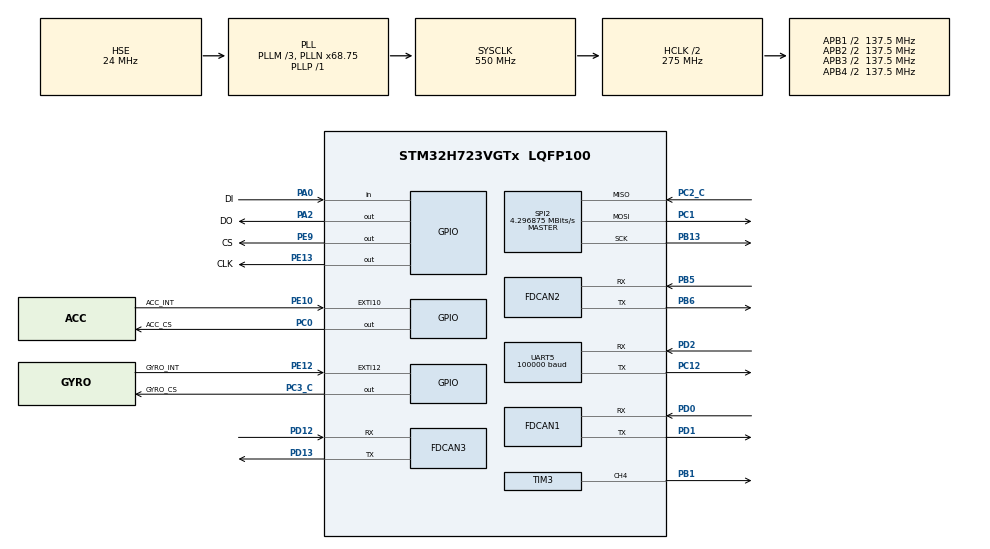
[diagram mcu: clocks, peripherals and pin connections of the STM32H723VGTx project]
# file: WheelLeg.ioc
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CORTEX_M7.default_mode_Activation=1
Dma.Request0=UART5_RX
Dma.UART5_RX.0.Direction=DMA_PERIPH_TO_MEMORY
Dma.UART5_RX.0.EventEnable=DISABLE
Dma.UART5_RX.0.FIFOMode=DMA_FIFOMODE_DISABLE
Dma.UART5_RX.0.Instance=DMA1_Stream1
Dma.UART5_RX.0.MemDataAlignment=DMA_MDATAALIGN_BYTE
Dma.UART5_RX.0.MemInc=DMA_MINC_ENABLE
Dma.UART5_RX.0.Mode=DMA_CIRCULAR
Dma.UART5_RX.0.PeriphDataAlignment=DMA_PDATAALIGN_BYTE
Dma.UART5_RX.0.PeriphInc=DMA_PINC_DISABLE
Dma.UART5_RX.0.Polarity=HAL_DMAMUX_REQ_GEN_RISING
Dma.UART5_RX.0.Priority=DMA_PRIORITY_VERY_HIGH
Dma.UART5_RX.0.RequestNumber=1
Dma.UART5_RX.0.SignalID=NONE
Dma.UART5_RX.0.SyncEnable=DISABLE
Dma.UART5_RX.0.SyncPolarity=HAL_DMAMUX_SYNC_NO_EVENT
Dma.UART5_RX.0.SyncRequestNumber=1
Dma.UART5_RX.0.SyncSignalID=NONE
FDCAN1.CalculateBaudRateNominal=1000000
FDCAN1.CalculateTimeBitNominal=1000
FDCAN1.CalculateTimeQuantumNominal=83.33333333333333
FDCAN1.NominalPrescaler=2
FDCAN1.NominalTimeSeg1=9
FDCAN1.NominalTimeSeg2=2
FDCAN1.RxFifo0ElmtsNbr=8
FDCAN1.StdFiltersNbr=1
FDCAN1.TxFifoQueueElmtsNbr=4
FDCAN2.CalculateBaudRateNominal=1000000
FDCAN2.CalculateTimeBitNominal=1000
FDCAN2.CalculateTimeQuantumNominal=83.33333333333333
FDCAN2.MessageRAMOffset=320
FDCAN2.NominalPrescaler=2
FDCAN2.NominalTimeSeg1=9
FDCAN2.NominalTimeSeg2=2
FDCAN2.RxFifo0ElmtsNbr=8
FDCAN2.StdFiltersNbr=1
FDCAN2.TxFifoQueueElmtsNbr=4
FDCAN3.CalculateBaudRateNominal=1000000
FDCAN3.CalculateTimeBitNominal=1000
FDCAN3.CalculateTimeQuantumNominal=83.33333333333333
FDCAN3.MessageRAMOffset=640
FDCAN3.NominalPrescaler=2
FDCAN3.NominalTimeSeg1=9
FDCAN3.NominalTimeSeg2=2
FDCAN3.RxFifo0ElmtsNbr=8
FDCAN3.StdFiltersNbr=1
FDCAN3.TxFifoQueueElmtsNbr=4
FREERTOS.Tasks01=defaultTask,24,128,StartDefaultTask,Default,NULL,Dynamic,NULL,NULL
Mcu.Family=STM32H7
Mcu.Name=STM32H723VGTx
Mcu.Package=LQFP100
NVIC.FDCAN1_IT0_IRQn=true\:5\:0\:false\:false\:true\:true\:true\:true\:true
NVIC.FDCAN2_IT0_IRQn=true\:5\:0\:false\:false\:true\:true\:true\:true\:true
NVIC.FDCAN3_IT0_IRQn=true\:5\:0\:false\:false\:true\:true\:true\:true\:true
NVIC.PriorityGroup=NVIC_PRIORITYGROUP_4
NVIC.TIM1_UP_IRQn=true\:15\:0\:false\:false\:true\:false\:false\:true\:true
NVIC.TimeBase=TIM1_UP_IRQn
NVIC.TimeBaseIP=TIM1
NVIC.UART5_IRQn=true\:5\:0\:false\:false\:true\:true\:true\:true\:true
PA0.GPIO_Label=DI
PA0.GPIO_PuPd=GPIO_PULLUP
PA0.Signal=GPIO_Input
PA13(JTMS/SWDIO).Mode=Serial_Wire
PA13(JTMS/SWDIO).Signal=DEBUG_JTMS-SWDIO
PA14(JTCK/SWCLK).Mode=Serial_Wire
PA14(JTCK/SWCLK).Signal=DEBUG_JTCK-SWCLK
PA2.GPIO_Label=DO
PA2.GPIO_PuPd=GPIO_PULLUP
PA2.GPIO_Speed=GPIO_SPEED_FREQ_VERY_HIGH
PA2.PinState=GPIO_PIN_SET
PA2.Signal=GPIO_Output
PB1.Signal=S_TIM3_CH4
PB13.GPIO_Speed=GPIO_SPEED_FREQ_VERY_HIGH
PB13.Mode=Full_Duplex_Master
PB13.Signal=SPI2_SCK
PB5.GPIO_Speed=GPIO_SPEED_FREQ_VERY_HIGH
PB5.Mode=FDCAN_Activate
PB5.Signal=FDCAN2_RX
PB6.GPIO_Speed=GPIO_SPEED_FREQ_VERY_HIGH
PB6.Mode=FDCAN_Activate
PB6.Signal=FDCAN2_TX
PC0.GPIO_Label=ACC_CS
PC0.GPIO_Speed=GPIO_SPEED_FREQ_VERY_HIGH
PC0.PinState=GPIO_PIN_SET
PC0.Signal=GPIO_Output
PC1.GPIO_Speed=GPIO_SPEED_FREQ_HIGH
PC1.Mode=Full_Duplex_Master
PC1.Signal=SPI2_MOSI
PC12.Mode=Asynchronous
PC12.Signal=UART5_TX
PC2_C.GPIO_Speed=GPIO_SPEED_FREQ_HIGH
PC2_C.Mode=Full_Duplex_Master
PC2_C.Signal=SPI2_MISO
PC3_C.GPIO_Label=GYRO_CS
PC3_C.GPIO_Speed=GPIO_SPEED_FREQ_VERY_HIGH
PC3_C.PinState=GPIO_PIN_SET
PC3_C.Signal=GPIO_Output
PD0.GPIO_Speed=GPIO_SPEED_FREQ_VERY_HIGH
PD0.Mode=FDCAN_Activate
PD0.Signal=FDCAN1_RX
PD1.GPIO_Speed=GPIO_SPEED_FREQ_VERY_HIGH
PD1.Mode=FDCAN_Activate
PD1.Signal=FDCAN1_TX
PD12.GPIO_Speed=GPIO_SPEED_FREQ_VERY_HIGH
PD12.Mode=FDCAN_Activate
PD12.Signal=FDCAN3_RX
PD13.GPIO_Speed=GPIO_SPEED_FREQ_VERY_HIGH
PD13.Mode=FDCAN_Activate
PD13.Signal=FDCAN3_TX
PD2.Mode=Asynchronous
PD2.Signal=UART5_RX
PE10.GPIO_Label=ACC_INT
PE10.Signal=GPXTI10
PE12.GPIO_Label=GYRO_INT
PE12.Signal=GPXTI12
PE13.GPIO_Label=CLK
PE13.GPIO_PuPd=GPIO_PULLUP
PE13.GPIO_Speed=GPIO_SPEED_FREQ_VERY_HIGH
PE13.PinState=GPIO_PIN_SET
PE13.Signal=GPIO_Output
PE9.GPIO_Label=CS
PE9.GPIO_PuPd=GPIO_PULLUP
PE9.GPIO_Speed=GPIO_SPEED_FREQ_VERY_HIGH
PE9.PinState=GPIO_PIN_SET
PE9.Signal=GPIO_Output
PH0-OSC_IN.Mode=HSE-External-Oscillator
PH0-OSC_IN.Signal=RCC_OSC_IN
PH1-OSC_OUT.Mode=HSE-External-Oscillator
PH1-OSC_OUT.Signal=RCC_OSC_OUT
ProjectManager.HeapSize=0x2000
ProjectManager.StackSize=0x4000
ProjectManager.TargetToolchain=MDK-ARM V5.32
RCC.ADCFreq_Value=48375000
RCC.APB1Freq_Value=137500000
RCC.APB2Freq_Value=137500000
RCC.APB3Freq_Value=137500000
RCC.APB4Freq_Value=137500000
RCC.CortexFreq_Value=550000000
RCC.D1PPRE=RCC_APB3_DIV2
RCC.D2PPRE1=RCC_APB1_DIV2
RCC.D2PPRE2=RCC_APB2_DIV2
RCC.D3PPRE=RCC_APB4_DIV2
RCC.DIVM1=3
RCC.DIVN1=68
RCC.DIVP1=1
RCC.DIVQ1=4
RCC.FDCANCLockSelection=RCC_FDCANCLKSOURCE_HSE
RCC.HCLKFreq_Value=275000000
RCC.HPRE=RCC_HCLK_DIV2
RCC.HSE_VALUE=24000000
RCC.PLL2FRACN=0
RCC.PLL3FRACN=0
RCC.PLLFRACN=6144
RCC.PLLSourceVirtual=RCC_PLLSOURCE_HSE
RCC.SYSCLKFreq_VALUE=550000000
RCC.SYSCLKSource=RCC_SYSCLKSOURCE_PLLCLK
RCC.USBFreq_Value=137500000
SH.S_TIM3_CH4.0=TIM3_CH4,PWM Generation4 CH4
SPI2.BaudRatePrescaler=SPI_BAUDRATEPRESCALER_32
SPI2.CLKPhase=SPI_PHASE_2EDGE
SPI2.CLKPolarity=SPI_POLARITY_HIGH
SPI2.CalculateBaudRate=4.296875 MBits/s
SPI2.DataSize=SPI_DATASIZE_8BIT
SPI2.Direction=SPI_DIRECTION_2LINES
SPI2.Mode=SPI_MODE_MASTER
SPI2.VirtualType=VM_MASTER
TIM3.AutoReloadPreload=TIM_AUTORELOAD_PRELOAD_ENABLE
TIM3.Channel-PWM\ Generation4\ CH4=TIM_CHANNEL_4
TIM3.Period=1000-1
TIM3.Prescaler=24-1
UART5.BaudRate=100000
UART5.Mode=MODE_TX_RX
UART5.OneBitSampling=UART_ONE_BIT_SAMPLE_DISABLE
UART5.Parity=PARITY_EVEN
UART5.StopBits=UART_STOPBITS_2
UART5.WordLength=WORDLENGTH_9B
VP_FREERTOS_VS_CMSIS_V2.Mode=CMSIS_V2
VP_MEMORYMAP_VS_MEMORYMAP.Mode=CurAppReg
VP_SYS_VS_tim1.Mode=TIM1
board=custom

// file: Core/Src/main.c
/* USER CODE BEGIN Header */
/**
  ******************************************************************************
  * @file           : main.c
  * @brief          : Main program body
  ******************************************************************************
  * @attention
  *
  * Copyright (c) 2026 STMicroelectronics.
  * All rights reserved.
  *
  * This software is licensed under terms that can be found in the LICENSE file
  * in the root directory of this software component.
  * If no LICENSE file comes with this software, it is provided AS-IS.
  *
  ******************************************************************************
  */
/* USER CODE END Header */
#include "main.h"
#include "FreeRTOS.h"
#include "cmsis_os2.h"
#include "dma.h"
#include "fdcan.h"
#include "spi.h"
#include "tim.h"
#include "usart.h"
#include "gpio.h"

/* USER CODE BEGIN Includes */
#include "arm_math.h"
#include "dwt.h"
#include "Remote_Control.h"
#include "INS_task.h"
#include "DM_motor.h"
#include "8009_CtrlApplications.h"
#include "BMI088Middleware.h"
#include "BMI088driver.h"
#include <stdio.h>
/* USER CODE END Includes */

void SystemClock_Config(void);
static void MPU_Config(void);
void MX_FREERTOS_Init(void);
/* USER CODE BEGIN PFP */
void SystemClock_Config(void);
static void MPU_Config(void);
/* USER CODE END PFP */

/* USER CODE BEGIN 0 */
float32_t dsp_sqrt_result;
float32_t dsp_mat_result[4];
uint8_t   dsp_pass_flag; // 0=未测, 1=全过, 2=sqrt失败, 3=矩阵失败, 4=宏缺失

void DSP_Verify_Test(void)
{
    float32_t A[4] = {1,2,3,4}, B[4] = {5,6,7,8}, C[4] = {0};
    arm_matrix_instance_f32 matA, matB, matC;

    dsp_pass_flag = 0;

#ifndef ARM_MATH_CM7
    dsp_pass_flag = 4; return;
#endif
#if !defined(__FPU_USED) || (__FPU_USED != 1)
    dsp_pass_flag = 4; return;
#endif

    arm_sqrt_f32(9.0f, &dsp_sqrt_result);
    if (fabsf(dsp_sqrt_result - 3.0f) > 1e-5f) { dsp_pass_flag = 2; return; }

    arm_mat_init_f32(&matA, 2, 2, A);
    arm_mat_init_f32(&matB, 2, 2, B);
    arm_mat_init_f32(&matC, 2, 2, C);
    arm_mat_mult_f32(&matA, &matB, &matC);

    dsp_mat_result[0] = C[0];
    dsp_mat_result[1] = C[1];
    dsp_mat_result[2] = C[2];
    dsp_mat_result[3] = C[3];

    if (fabsf(C[0] - 19.0f) > 1e-4f || fabsf(C[1] - 22.0f) > 1e-4f ||
        fabsf(C[2] - 43.0f) > 1e-4f || fabsf(C[3] - 50.0f) > 1e-4f)
    {
        dsp_pass_flag = 3; return;
    }

    dsp_pass_flag = 1;
}
/* USER CODE END 0 */

int main(void)
{

  /* MPU Configuration--------------------------------------------------------*/
  MPU_Config();

  /* MCU Configuration--------------------------------------------------------*/

  /* Reset of all peripherals, Initializes the Flash interface and the Systick. */
  HAL_Init();

  /* Configure the system clock */
  SystemClock_Config();

  /* Initialize all configured peripherals */
  MX_GPIO_Init();
  MX_DMA_Init();
  MX_FDCAN1_Init();
  MX_FDCAN2_Init();
  MX_FDCAN3_Init();
  MX_SPI2_Init();
  MX_TIM3_Init();
  MX_UART5_Init();
  /* USER CODE BEGIN 2 */
  DSP_Verify_Test();
	DWT_Init(550);
	RemoteContrlInit();
	while (BMI088_init(&hspi2, 0) != BMI088_NO_ERROR)
	{
	  ;
	}
	//打开CAN外设，打开中断
	HAL_FDCAN_Start(&hfdcan1);
	HAL_FDCAN_ActivateNotification(&hfdcan1,FDCAN_IT_RX_FIFO0_NEW_MESSAGE,0);

	HAL_FDCAN_Start(&hfdcan2);
	HAL_FDCAN_ActivateNotification(&hfdcan2, FDCAN_IT_RX_FIFO0_NEW_MESSAGE, 0);

	HAL_FDCAN_Start(&hfdcan3);
	HAL_FDCAN_ActivateNotification(&hfdcan3, FDCAN_IT_RX_FIFO0_NEW_MESSAGE, 0);

  /* USER CODE END 2 */

  /* Init scheduler */
  osKernelInitialize();  /* Call init function for freertos objects (in cmsis_os2.c) */
  MX_FREERTOS_Init();

  /* Start scheduler */
  osKernelStart();

  /* We should never get here as control is now taken by the scheduler */

  /* Infinite loop */
	while (1)
	{

	}
}

void SystemClock_Config(void)
{
  RCC_OscInitTypeDef RCC_OscInitStruct = {0};
  RCC_ClkInitTypeDef RCC_ClkInitStruct = {0};

  /** Supply configuration update enable
  */
  HAL_PWREx_ConfigSupply(PWR_LDO_SUPPLY);

  /** Configure the main internal regulator output voltage
  */
  __HAL_PWR_VOLTAGESCALING_CONFIG(PWR_REGULATOR_VOLTAGE_SCALE0);

  while(!__HAL_PWR_GET_FLAG(PWR_FLAG_VOSRDY)) {}

  /** Initializes the RCC Oscillators according to the specified parameters
  * in the RCC_OscInitTypeDef structure.
  */
  RCC_OscInitStruct.OscillatorType = RCC_OSCILLATORTYPE_HSE;
  RCC_OscInitStruct.HSEState = RCC_HSE_ON;
  RCC_OscInitStruct.PLL.PLLState = RCC_PLL_ON;
  RCC_OscInitStruct.PLL.PLLSource = RCC_PLLSOURCE_HSE;
  RCC_OscInitStruct.PLL.PLLM = 3;
  RCC_OscInitStruct.PLL.PLLN = 68;
  RCC_OscInitStruct.PLL.PLLP = 1;
  RCC_OscInitStruct.PLL.PLLQ = 4;
  RCC_OscInitStruct.PLL.PLLR = 2;
  RCC_OscInitStruct.PLL.PLLRGE = RCC_PLL1VCIRANGE_3;
  RCC_OscInitStruct.PLL.PLLVCOSEL = RCC_PLL1VCOWIDE;
  RCC_OscInitStruct.PLL.PLLFRACN = 6144;
  if (HAL_RCC_OscConfig(&RCC_OscInitStruct) != HAL_OK)
  {
    Error_Handler();
  }

  /** Initializes the CPU, AHB and APB buses clocks
  */
  RCC_ClkInitStruct.ClockType = RCC_CLOCKTYPE_HCLK|RCC_CLOCKTYPE_SYSCLK
                              |RCC_CLOCKTYPE_PCLK1|RCC_CLOCKTYPE_PCLK2
                              |RCC_CLOCKTYPE_D3PCLK1|RCC_CLOCKTYPE_D1PCLK1;
  RCC_ClkInitStruct.SYSCLKSource = RCC_SYSCLKSOURCE_PLLCLK;
  RCC_ClkInitStruct.SYSCLKDivider = RCC_SYSCLK_DIV1;
  RCC_ClkInitStruct.AHBCLKDivider = RCC_HCLK_DIV2;
  RCC_ClkInitStruct.APB3CLKDivider = RCC_APB3_DIV2;
  RCC_ClkInitStruct.APB1CLKDivider = RCC_APB1_DIV2;
  RCC_ClkInitStruct.APB2CLKDivider = RCC_APB2_DIV2;
  RCC_ClkInitStruct.APB4CLKDivider = RCC_APB4_DIV2;

  if (HAL_RCC_ClockConfig(&RCC_ClkInitStruct, FLASH_LATENCY_3) != HAL_OK)
  {
    Error_Handler();
  }
}

 /* MPU Configuration */

void MPU_Config(void)
{
  MPU_Region_InitTypeDef MPU_InitStruct = {0};

  /* Disables the MPU */
  HAL_MPU_Disable();

  /** Initializes and configures the Region and the memory to be protected
  */
  MPU_InitStruct.Enable = MPU_REGION_ENABLE;
  MPU_InitStruct.Number = MPU_REGION_NUMBER0;
  MPU_InitStruct.BaseAddress = 0x0;
  MPU_InitStruct.Size = MPU_REGION_SIZE_4GB;
  MPU_InitStruct.SubRegionDisable = 0x87;
  MPU_InitStruct.TypeExtField = MPU_TEX_LEVEL0;
  MPU_InitStruct.AccessPermission = MPU_REGION_NO_ACCESS;
  MPU_InitStruct.DisableExec = MPU_INSTRUCTION_ACCESS_DISABLE;
  MPU_InitStruct.IsShareable = MPU_ACCESS_SHAREABLE;
  MPU_InitStruct.IsCacheable = MPU_ACCESS_NOT_CACHEABLE;
  MPU_InitStruct.IsBufferable = MPU_ACCESS_NOT_BUFFERABLE;

  HAL_MPU_ConfigRegion(&MPU_InitStruct);
  /* Enables the MPU */
  HAL_MPU_Enable(MPU_PRIVILEGED_DEFAULT);

}

void HAL_TIM_PeriodElapsedCallback(TIM_HandleTypeDef *htim)
{
  if (htim->Instance == TIM1)
  {
    HAL_IncTick();
  }
}

void Error_Handler(void)
{
  __disable_irq();
  while (1)
  {
  }
}

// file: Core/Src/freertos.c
/* USER CODE BEGIN Header */
/**
  ******************************************************************************
  * File Name          : freertos.c
  * Description        : Code for freertos applications
  ******************************************************************************
  * @attention
  *
  * Copyright (c) 2026 STMicroelectronics.
  * All rights reserved.
  *
  * This software is licensed under terms that can be found in the LICENSE file
  * in the root directory of this software component.
  * If no LICENSE file comes with this software, it is provided AS-IS.
  *
  ******************************************************************************
  */
/* USER CODE END Header */

#include "FreeRTOS.h"
#include "task.h"
#include "main.h"
#include "FreeRTOS.h"
#include "cmsis_os2.h"

/* USER CODE BEGIN Includes */
#include "INS_task.h"
#include "Leg_Tasks.h"
/* USER CODE END Includes */

/* USER CODE BEGIN Variables */
osThreadId_t INSTaskHandle;
const osThreadAttr_t INSTask_attributes = {
	.name = "INS_task",
	.stack_size = 2048,
	.priority = (osPriority_t) osPriorityHigh,
};

osThreadId_t LLegTaskHandle;
const osThreadAttr_t LLegTask_attributes = {
	.name = "Balance_pair",
	.stack_size = 4096,
	.priority = (osPriority_t) osPriorityHigh,
};

/* Both legs are controlled by LLegTaskHandle in one 1 ms frame. */
/* USER CODE END Variables */
/* Definitions for defaultTask */
osThreadId_t defaultTaskHandle;
const osThreadAttr_t defaultTask_attributes = {
  .name = "defaultTask",
  .stack_size = 128 * 4,
  .priority = (osPriority_t) osPriorityNormal,
};

/* USER CODE BEGIN FunctionPrototypes */
void INS_task(void *argument);
/* USER CODE END FunctionPrototypes */

void StartDefaultTask(void *argument);

void MX_FREERTOS_Init(void); /* (MISRA C 2004 rule 8.1) */

void MX_FREERTOS_Init(void) {

  /* USER CODE BEGIN RTOS_SEMAPHORES */
  /* adxd semaphores, ... */
  /* USER CODE END RTOS_SEMAPHORES */

  /* Create the thread(s) */
  /* creation of defaultTask */
  defaultTaskHandle = osThreadNew(StartDefaultTask, NULL, &defaultTask_attributes);

  /* USER CODE BEGIN RTOS_THREADS */
  /* add threads, ... */
  INSTaskHandle = osThreadNew(INS_task , NULL, &INSTask_attributes);
  LLegTaskHandle = osThreadNew(LLeg_task, NULL, &LLegTask_attributes);
  /* The paired control task owns all leg and wheel commands. */
  /* USER CODE END RTOS_THREADS */

}

void StartDefaultTask(void *argument)
{
  /* USER CODE BEGIN StartDefaultTask */
  /* Infinite loop */
  for(;;)
  {
    osDelay(1000);
  }
  /* USER CODE END StartDefaultTask */
}

/* USER CODE BEGIN Application */
void INS_task(void *argument)
{
	INS_Init();
    uint32_t next_wake = osKernelGetTickCount();
    uint32_t period = osKernelGetTickFreq() / 1000U;
    if (period == 0U) period = 1U;
    while (1)
    {
        INS_Task();
        next_wake += period;
        if ((int32_t)(next_wake - osKernelGetTickCount()) <= 0)
            next_wake = osKernelGetTickCount() + period;
        osDelayUntil(next_wake);
    }
}
/* USER CODE END Application */
